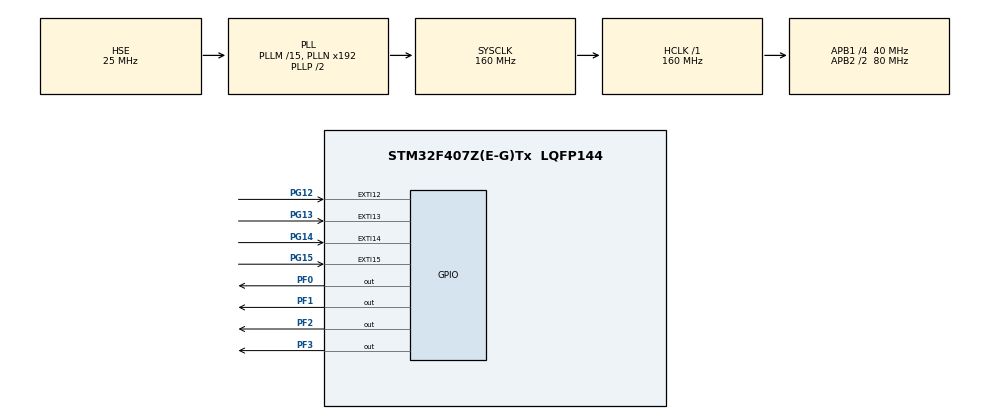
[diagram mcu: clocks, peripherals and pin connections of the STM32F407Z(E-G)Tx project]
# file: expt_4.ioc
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Mcu.Family=STM32F4
Mcu.Name=STM32F407Z(E-G)Tx
Mcu.Package=LQFP144
NVIC.EXTI15_10_IRQn=true\:1\:0\:true\:false\:true\:true\:true\:true
NVIC.PriorityGroup=NVIC_PRIORITYGROUP_4
PA13.Mode=Serial_Wire
PA13.Signal=SYS_JTMS-SWDIO
PA14.Mode=Serial_Wire
PA14.Signal=SYS_JTCK-SWCLK
PF0.PinState=GPIO_PIN_SET
PF0.Signal=GPIO_Output
PF1.PinState=GPIO_PIN_SET
PF1.Signal=GPIO_Output
PF2.PinState=GPIO_PIN_SET
PF2.Signal=GPIO_Output
PF3.PinState=GPIO_PIN_SET
PF3.Signal=GPIO_Output
PG12.GPIO_ModeDefaultEXTI=GPIO_MODE_IT_FALLING
PG12.GPIO_PuPd=GPIO_PULLUP
PG12.Signal=GPXTI12
PG13.GPIO_ModeDefaultEXTI=GPIO_MODE_IT_FALLING
PG13.GPIO_PuPd=GPIO_PULLUP
PG13.Signal=GPXTI13
PG14.GPIO_ModeDefaultEXTI=GPIO_MODE_IT_FALLING
PG14.GPIO_PuPd=GPIO_PULLUP
PG14.Signal=GPXTI14
PG15.GPIO_ModeDefaultEXTI=GPIO_MODE_IT_FALLING
PG15.GPIO_PuPd=GPIO_PULLUP
PG15.Signal=GPXTI15
PH0-OSC_IN.Mode=HSE-External-Oscillator
PH0-OSC_IN.Signal=RCC_OSC_IN
PH1-OSC_OUT.Mode=HSE-External-Oscillator
PH1-OSC_OUT.Signal=RCC_OSC_OUT
ProjectManager.HeapSize=0x200
ProjectManager.StackSize=0x400
ProjectManager.TargetToolchain=MDK-ARM V5.32
RCC.48MHZClocksFreq_Value=80000000
RCC.AHBFreq_Value=160000000
RCC.APB1CLKDivider=RCC_HCLK_DIV4
RCC.APB1Freq_Value=40000000
RCC.APB1TimFreq_Value=80000000
RCC.APB2CLKDivider=RCC_HCLK_DIV2
RCC.APB2Freq_Value=80000000
RCC.APB2TimFreq_Value=160000000
RCC.CortexFreq_Value=160000000
RCC.HCLKFreq_Value=160000000
RCC.HSE_VALUE=25000000
RCC.HSI_VALUE=16000000
RCC.LSE_VALUE=32768
RCC.PLLM=15
RCC.PLLSourceVirtual=RCC_PLLSOURCE_HSE
RCC.SYSCLKFreq_VALUE=160000000
RCC.SYSCLKSource=RCC_SYSCLKSOURCE_PLLCLK
RCC.VCOOutputFreq_Value=320000000
board=custom

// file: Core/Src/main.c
/* USER CODE BEGIN Header */
/**
 ******************************************************************************
 * @file           : main.c
 * @brief          : Main program body
 ******************************************************************************
 * @attention
 *
 * Copyright (c) 2022 STMicroelectronics.
 * All rights reserved.
 *
 * This software is licensed under terms that can be found in the LICENSE file
 * in the root directory of this software component.
 * If no LICENSE file comes with this software, it is provided AS-IS.
 *
 ******************************************************************************
 */
/* USER CODE END Header */
#include "main.h"

#include "gpio.h"

/* USER CODE BEGIN PV */
uint8_t LED1_flag = 1;
uint8_t LED2_flag = 1;
uint8_t LED3_flag = 1;
uint8_t LED4_flag = 1;
/* USER CODE END PV */

void SystemClock_Config(void);

int main(void) {

    /* MCU Configuration--------------------------------------------------------*/

    /* Reset of all peripherals, Initializes the Flash interface and the Systick. */
    HAL_Init();

    /* Configure the system clock */
    SystemClock_Config();

    /* Initialize all configured peripherals */
    MX_GPIO_Init();

    /* Infinite loop */
    while (1) {

        /* USER CODE BEGIN 3 */
        HAL_GPIO_WritePin(GPIOF, GPIO_PIN_0, LED1_flag);
        HAL_GPIO_WritePin(GPIOF, GPIO_PIN_1, LED2_flag);
        HAL_GPIO_WritePin(GPIOF, GPIO_PIN_2, LED3_flag);
        HAL_GPIO_WritePin(GPIOF, GPIO_PIN_3, LED4_flag);
        HAL_Delay(1);
    }
    /* USER CODE END 3 */
}

void SystemClock_Config(void) {
    RCC_OscInitTypeDef RCC_OscInitStruct = {0};
    RCC_ClkInitTypeDef RCC_ClkInitStruct = {0};

    /** Configure the main internal regulator output voltage
     */
    __HAL_RCC_PWR_CLK_ENABLE();
    __HAL_PWR_VOLTAGESCALING_CONFIG(PWR_REGULATOR_VOLTAGE_SCALE1);

    /** Initializes the RCC Oscillators according to the specified parameters
     * in the RCC_OscInitTypeDef structure.
     */
    RCC_OscInitStruct.OscillatorType = RCC_OSCILLATORTYPE_HSE;
    RCC_OscInitStruct.HSEState = RCC_HSE_ON;
    RCC_OscInitStruct.PLL.PLLState = RCC_PLL_ON;
    RCC_OscInitStruct.PLL.PLLSource = RCC_PLLSOURCE_HSE;
    RCC_OscInitStruct.PLL.PLLM = 15;
    RCC_OscInitStruct.PLL.PLLN = 192;
    RCC_OscInitStruct.PLL.PLLP = RCC_PLLP_DIV2;
    RCC_OscInitStruct.PLL.PLLQ = 4;
    if (HAL_RCC_OscConfig(&RCC_OscInitStruct) != HAL_OK) {
        Error_Handler();
    }

    /** Initializes the CPU, AHB and APB buses clocks
     */
    RCC_ClkInitStruct.ClockType = RCC_CLOCKTYPE_HCLK | RCC_CLOCKTYPE_SYSCLK | RCC_CLOCKTYPE_PCLK1 | RCC_CLOCKTYPE_PCLK2;
    RCC_ClkInitStruct.SYSCLKSource = RCC_SYSCLKSOURCE_PLLCLK;
    RCC_ClkInitStruct.AHBCLKDivider = RCC_SYSCLK_DIV1;
    RCC_ClkInitStruct.APB1CLKDivider = RCC_HCLK_DIV4;
    RCC_ClkInitStruct.APB2CLKDivider = RCC_HCLK_DIV2;

    if (HAL_RCC_ClockConfig(&RCC_ClkInitStruct, FLASH_LATENCY_5) != HAL_OK) {
        Error_Handler();
    }
}

/* USER CODE BEGIN 4 */
void HAL_GPIO_EXTI_Callback(uint16_t GPIO_Pin) {
    if (GPIO_Pin == GPIO_PIN_12) {
        LED1_flag = 1 - LED1_flag;
    } else if (GPIO_Pin == GPIO_PIN_13) {
        LED2_flag = 1 - LED2_flag;
    } else if (GPIO_Pin == GPIO_PIN_14) {
        LED3_flag = 1 - LED3_flag;
    } else if (GPIO_Pin == GPIO_PIN_15) {
        LED4_flag = 1 - LED4_flag;
    }
}
/* USER CODE END 4 */

void Error_Handler(void) {
    __disable_irq();
    while (1) {
    }
}
